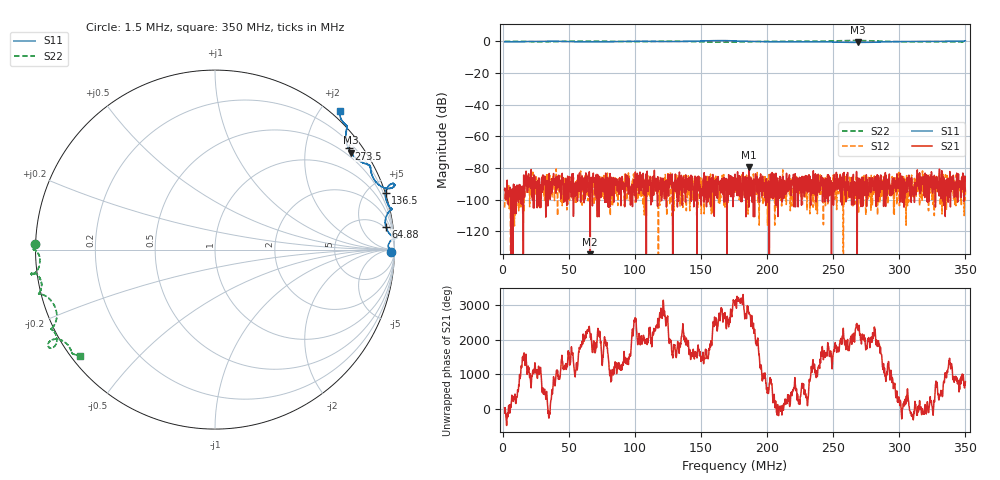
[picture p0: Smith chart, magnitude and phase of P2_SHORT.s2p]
# Hz S RI R 50
! RAW DATA - UNCALIBRATED
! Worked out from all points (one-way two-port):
!   1601 points, 1.5 MHz to 350 MHz, reference 50 ohm
!   highest |S21| = -79.58 dB at 186.4 MHz (marker M1); lowest = -186.3 dB at 66.19 MHz (marker M2)
!   lowest |S11| = -0.6 dB at 268.5 MHz (marker M3), VSWR 27.44, Z = 19.3 + j154 ohm
!   |S11| at or under -10 dB: nowhere
!   |S22| runs from -0.5 to 0.6 dB; largest |S21 - S12| = 0.00017
!   S11 on the Smith chart (normalised r, x): 1.5 MHz: 64, -41; 64.88 MHz: 4, +14; 136.5 MHz: -0.01, +6.22; 273.5 MHz: 0.33, +2.95; 350 MHz: -0.11, +2.25
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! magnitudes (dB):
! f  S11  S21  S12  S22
! 1.5 MHz  -0.2  -93.7  -105.0  0.0
! 8.688 MHz  -0.3  -90.5  -97.6  0.1
! 17.84 MHz  0.0  -82.1  -83.9  -0.1
! 24.37 MHz  0.0  -87.7  -95.6  -0.2
! 36.79 MHz  0.1  -89.9  -95.9  -0.1
! 59.66 MHz  -0.3  -90.4  -91.3  0.3
! 64.88 MHz  -0.4  -89.3  -84.1  0.3
! 66.19 MHz  -0.4  -186.3  -103.2  0.3
! 97.34 MHz  0.1  -92.3  -95.7  -0.1
! 117.8 MHz  0.0  -87.2  -191.0  0.0
! 136.5 MHz  0.0  -88.0  -95.0  0.0
! 160.5 MHz  0.5  -97.4  -88.2  -0.4
! 175.8 MHz  0.4  -83.9  -90.7  -0.4
! 186.4 MHz  0.1  -79.6  -85.0  -0.2
! 204.7 MHz  -0.3  -85.2  -97.0  0.1
! 233.9 MHz  -0.2  -87.8  -90.8  0.1
! 268.5 MHz  -0.6  -86.2  -98.6  0.6
! 273.5 MHz  -0.6  -94.6  -86.8  0.6
! 292.1 MHz  -0.2  -93.1  -92.3  0.0
! 305.6 MHz  0.0  -92.1  -84.8  -0.2
! 331.7 MHz  0.1  -99.5  -86.2  -0.2
! 350 MHz  0.3  -94.5  -95.1  -0.4
